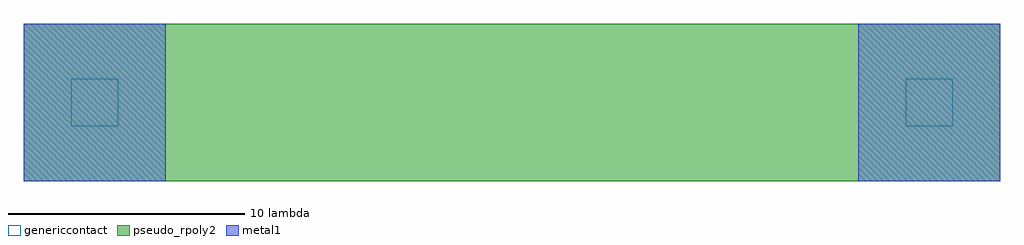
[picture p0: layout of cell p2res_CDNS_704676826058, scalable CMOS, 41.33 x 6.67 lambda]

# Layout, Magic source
magic
tech scmos
magscale 1 3
<< pseudo_rpoly2 >>
rect 8 8 132 28
use poly2cont_CDNS_704676826059  poly2cont_CDNS_704676826059_0
transform 1 0 114 0 1 8
box 0 0 18 20
use poly2cont_CDNS_704676826059  poly2cont_CDNS_704676826059_1
transform 1 0 8 0 1 8
box 0 0 18 20
<< end >>

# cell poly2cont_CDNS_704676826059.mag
magic
tech scmos
magscale 1 3
<< genericcontact >>
rect 6 7 12 13
<< metal1 >>
rect 0 0 18 20
<< pseudo_rpoly2 >>
rect 1 1 17 19
<< end >>
